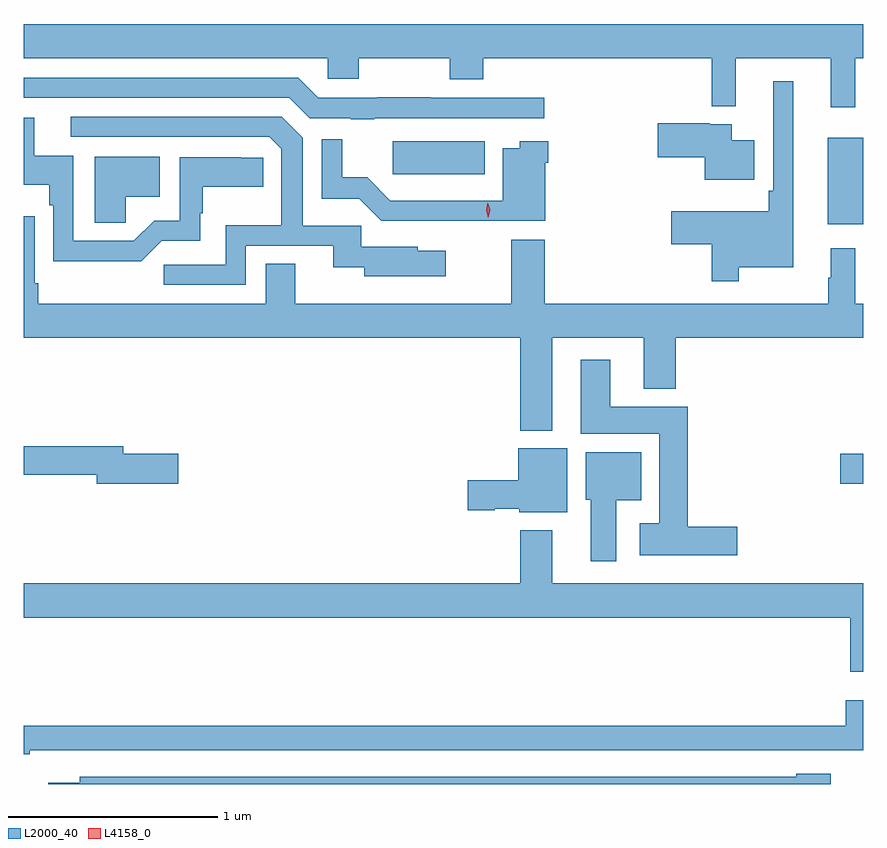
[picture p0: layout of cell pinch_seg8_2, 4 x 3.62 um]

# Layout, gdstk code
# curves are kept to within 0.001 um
import gdstk
lib = gdstk.Library(unit=1e-6, precision=1e-09)
def R(c, l, rs):  # rectangles x0, y0, x1, y1
    for r in rs: c.add(gdstk.rectangle(r[:2], r[2:], *l))
def P(c, l, *ps):  # polygons
    for p in ps: c.add(gdstk.Polygon(p, *l))
L2000_40 = (2000, 40)
L4158_0 = (4158, 0)

pinch_seg8_2 = lib.new_cell('pinch_seg8_2')
R(pinch_seg8_2, L2000_40, [(1010.49,1153.102,1010.599,1153.244), (1010.429,1154.339,1010.599,1154.749), (1008.357,1154.576,1008.796,1154.734)])
P(pinch_seg8_2, L2000_40, [(1010.561,1155.128),(1010.599,1155.128),(1010.599,1155.292),(1006.599,1155.292),(1006.599,1155.128),(1008.048,1155.128),(1008.048,1155.03),(1008.195,1155.03),(1008.195,1155.128),(1008.628,1155.128),(1008.628,1155.029),(1008.788,1155.029),(1008.788,1155.128),(1009.878,1155.128),(1009.878,1154.9),(1009.991,1154.9),(1009.991,1155.128),(1010.444,1155.128),(1010.444,1154.895),(1010.561,1154.895)],
  [(1008.269,1154.844),(1009.078,1154.844),(1009.078,1154.94),(1008.539,1154.94),(1008.539,1154.942),(1008.283,1154.942),(1008.283,1154.94),(1008.003,1154.94),(1007.907,1155.036),(1006.599,1155.036),(1006.599,1154.94),(1007.865,1154.94),(1007.961,1154.844),(1008.158,1154.844),(1008.158,1154.839),(1008.269,1154.839)],
  [(1010.005,1154.132),(1010.266,1154.132),(1010.266,1155.019),(1010.169,1155.019),(1010.169,1154.497),(1010.149,1154.497),(1010.149,1154.401),(1009.683,1154.401),(1009.683,1154.243),(1009.876,1154.243),(1009.876,1154.067),(1010.005,1154.067)],
  [(1007.658,1154.235),(1008.074,1154.235),(1008.074,1154.132),(1008.221,1154.132),(1008.221,1154.09),(1008.61,1154.09),(1008.61,1154.212),(1008.477,1154.212),(1008.477,1154.23),(1008.208,1154.23),(1008.208,1154.331),(1007.929,1154.331),(1007.929,1154.75),(1007.829,1154.85),(1006.824,1154.85),(1006.824,1154.754),(1007.769,1154.754),(1007.826,1154.697),(1007.826,1154.333),(1007.562,1154.333),(1007.562,1154.144),(1007.265,1154.144),(1007.265,1154.049),(1007.658,1154.049)],
  [(1007.256,1154.259),(1007.439,1154.259),(1007.439,1154.391),(1007.452,1154.391),(1007.452,1154.516),(1007.74,1154.516),(1007.74,1154.655),(1007.343,1154.656),(1007.343,1154.355),(1007.22,1154.355),(1007.124,1154.259),(1006.836,1154.259),(1006.836,1154.665),(1006.648,1154.665),(1006.648,1154.845),(1006.599,1154.845),(1006.599,1154.525),(1006.72,1154.525),(1006.72,1154.429),(1006.74,1154.429),(1006.74,1154.162),(1007.159,1154.162)],
  [(1010.08,1154.737),(1009.972,1154.737),(1009.972,1154.815),(1009.868,1154.815),(1009.868,1154.82),(1009.62,1154.82),(1009.62,1154.657),(1009.844,1154.657),(1009.844,1154.549),(1010.08,1154.549)],
  [(1009.084,1154.63),(1009.097,1154.63),(1009.097,1154.734),(1008.962,1154.734),(1008.962,1154.701),(1008.881,1154.701),(1008.881,1154.451),(1008.345,1154.451),(1008.235,1154.561),(1008.117,1154.561),(1008.117,1154.743),(1008.018,1154.743),(1008.018,1154.46),(1008.198,1154.46),(1008.303,1154.355),(1009.084,1154.355)],
  [(1007.084,1154.468),(1007.248,1154.468),(1007.248,1154.659),(1006.937,1154.659),(1006.937,1154.346),(1007.084,1154.346)],
  [(1009.117,1153.796),(1009.553,1153.796),(1009.553,1153.553),(1009.706,1153.553),(1009.706,1153.796),(1010.599,1153.796),(1010.599,1153.96),(1010.561,1153.96),(1010.561,1154.224),(1010.444,1154.224),(1010.444,1154.084),(1010.433,1154.084),(1010.433,1153.96),(1009.082,1153.96),(1009.082,1154.263),(1008.922,1154.263),(1008.922,1153.96),(1007.893,1153.96),(1007.893,1154.15),(1007.753,1154.15),(1007.753,1153.96),(1006.669,1153.96),(1006.669,1154.056),(1006.651,1154.056),(1006.651,1154.377),(1006.599,1154.377),(1006.599,1153.796),(1008.965,1153.796),(1008.965,1153.355),(1009.117,1153.355)],
  [(1009.999,1152.896),(1009.763,1152.896),(1009.763,1153.468),(1009.393,1153.468),(1009.393,1153.693),(1009.253,1153.693),(1009.253,1153.34),(1009.628,1153.34),(1009.628,1152.913),(1009.533,1152.913),(1009.533,1152.761),(1009.999,1152.761)],
  [(1007.335,1153.244),(1007.074,1153.244),(1007.074,1153.28),(1006.599,1153.28),(1006.599,1153.144),(1006.946,1153.144),(1006.946,1153.102),(1007.335,1153.102)],
  [(1009.189,1153.27),(1008.956,1153.27),(1008.956,1153.118),(1008.714,1153.118),(1008.714,1152.976),(1008.843,1152.976),(1008.843,1152.983),(1008.96,1152.983),(1008.96,1152.965),(1009.189,1152.965)],
  [(1009.423,1153.022),(1009.54,1153.022),(1009.54,1153.252),(1009.277,1153.252),(1009.277,1153.026),(1009.301,1153.026),(1009.301,1152.732),(1009.423,1152.732)],
  [(1009.117,1152.88),(1008.965,1152.88),(1008.965,1152.628),(1006.599,1152.628),(1006.599,1152.464),(1010.537,1152.464),(1010.537,1152.207),(1010.599,1152.207),(1010.599,1152.628),(1009.117,1152.628)],
  [(1006.628,1151.832),(1010.599,1151.832),(1010.599,1152.07),(1010.516,1152.07),(1010.516,1151.948),(1006.599,1151.948),(1006.599,1151.812),(1006.628,1151.812)],
  [(1010.443,1151.719),(1010.28,1151.719),(1010.28,1151.706),(1006.865,1151.706),(1006.865,1151.677),(1006.716,1151.677),(1006.716,1151.671),(1010.443,1151.671)])
P(pinch_seg8_2, L4158_0, [(1008.813,1154.37),(1008.813,1154.37),(1008.802,1154.405),(1008.81,1154.44),(1008.81,1154.44),(1008.811,1154.44),(1008.822,1154.406),(1008.813,1154.37)])

lib.write_gds('pinch_seg8_2.gds')
